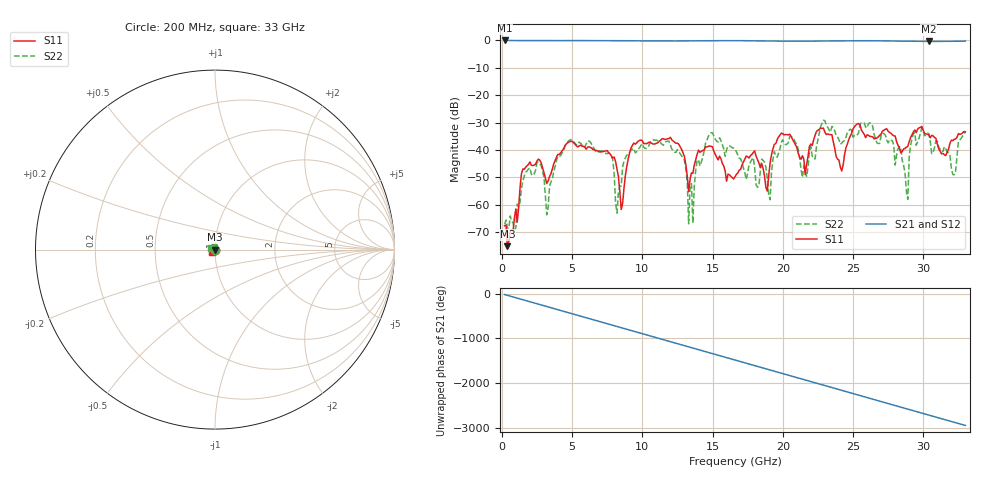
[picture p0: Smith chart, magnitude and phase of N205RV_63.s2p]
# GHZ S RI R 50
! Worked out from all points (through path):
!   329 points, 200 MHz to 33 GHz, reference 50 ohm
!   highest |S21| = -0.02 dB at 200 MHz (marker M1); lowest = -0.4 dB at 30.4 GHz (marker M2)
!   group delay of S21, straight-line fit = 248 ps
!   lowest |S11| = -75.1 dB at 400 MHz (marker M3), VSWR 1.00, Z = 50 + j0.00839 ohm
!   |S11| at or under -10 dB: start of sweep to end of sweep
!   |S22| runs from -69.1 to -29.1 dB; largest |S21 - S12| = 0.0019
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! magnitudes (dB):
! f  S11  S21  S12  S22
! 200 MHz  -67.7  0.0  0.0  -67.1
! 400 MHz  -75.1  0.0  0.0  -68.5
! 1.5 GHz  -46.9  -0.1  -0.1  -51.4
! 3.2 GHz  -52.2  -0.1  -0.1  -63.7
! 5.7 GHz  -38.6  -0.1  -0.1  -38.0
! 7.8 GHz  -42.2  -0.1  -0.1  -42.2
! 8.2 GHz  -46.9  -0.1  -0.1  -63.1
! 8.5 GHz  -61.7  -0.1  -0.1  -53.1
! 9.3 GHz  -38.3  -0.1  -0.1  -39.7
! 11.2 GHz  -36.9  -0.2  -0.2  -37.0
! 13 GHz  -42.4  -0.2  -0.2  -43.8
! 13.3 GHz  -55.2  -0.2  -0.2  -67.0
! 14.8 GHz  -38.5  -0.1  -0.1  -34.1
! 16.6 GHz  -49.8  -0.1  -0.1  -39.6
! 19.1 GHz  -44.7  -0.2  -0.2  -58.2
! 20 GHz  -34.0  -0.3  -0.3  -36.3
! 22.1 GHz  -38.4  -0.3  -0.3  -42.2
! 27.6 GHz  -33.6  -0.2  -0.2  -36.2
! 28.9 GHz  -38.7  -0.3  -0.3  -58.0
! 29.3 GHz  -33.4  -0.3  -0.3  -34.1
! 30.4 GHz  -34.5  -0.4  -0.4  -34.0
! 33 GHz  -33.4  -0.2  -0.2  -33.3
